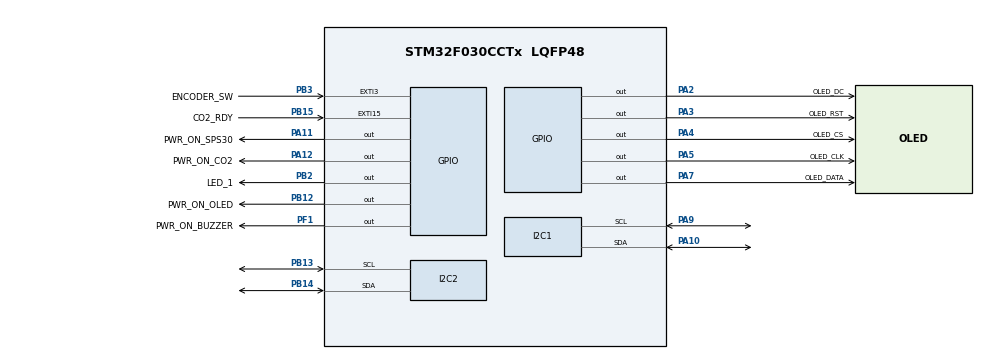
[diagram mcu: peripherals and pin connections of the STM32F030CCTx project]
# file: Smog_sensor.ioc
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Mcu.Family=STM32F0
Mcu.Name=STM32F030CCTx
Mcu.Package=LQFP48
NVIC.EXTI2_3_IRQn=true\:0\:0\:false\:false\:true\:true\:true
NVIC.EXTI4_15_IRQn=true\:0\:0\:false\:false\:true\:true\:true
NVIC.TIM7_IRQn=true\:0\:0\:false\:false\:true\:true\:true
PA10.Mode=I2C
PA10.Signal=I2C1_SDA
PA11.GPIO_Label=PWR_ON_SPS30
PA11.Signal=GPIO_Output
PA12.GPIO_Label=PWR_ON_CO2
PA12.PinState=GPIO_PIN_SET
PA12.Signal=GPIO_Output
PA13.Mode=Serial_Wire
PA13.Signal=SYS_SWDIO
PA14.Mode=Serial_Wire
PA14.Signal=SYS_SWCLK
PA2.GPIO_Label=OLED_DC
PA2.GPIO_Speed=GPIO_SPEED_FREQ_HIGH
PA2.PinState=GPIO_PIN_SET
PA2.Signal=GPIO_Output
PA3.GPIO_Label=OLED_RST
PA3.GPIO_Speed=GPIO_SPEED_FREQ_HIGH
PA3.PinState=GPIO_PIN_SET
PA3.Signal=GPIO_Output
PA4.GPIO_Label=OLED_CS
PA4.GPIO_Speed=GPIO_SPEED_FREQ_HIGH
PA4.PinState=GPIO_PIN_SET
PA4.Signal=GPIO_Output
PA5.GPIO_Label=OLED_CLK
PA5.GPIO_Speed=GPIO_SPEED_FREQ_HIGH
PA5.PinState=GPIO_PIN_SET
PA5.Signal=GPIO_Output
PA7.GPIO_Label=OLED_DATA
PA7.GPIO_Speed=GPIO_SPEED_FREQ_HIGH
PA7.PinState=GPIO_PIN_SET
PA7.Signal=GPIO_Output
PA9.Mode=I2C
PA9.Signal=I2C1_SCL
PB12.GPIO_Label=PWR_ON_OLED
PB12.Signal=GPIO_Output
PB13.Mode=I2C
PB13.Signal=I2C2_SCL
PB14.Mode=I2C
PB14.Signal=I2C2_SDA
PB15.GPIO_Label=CO2_RDY
PB15.GPIO_ModeDefaultEXTI=GPIO_MODE_IT_RISING
PB15.Signal=GPXTI15
PB2.GPIO_Label=LED_1
PB2.PinState=GPIO_PIN_SET
PB2.Signal=GPIO_Output
PB3.GPIO_Label=ENCODER_SW
PB3.GPIO_ModeDefaultEXTI=GPIO_MODE_IT_FALLING
PB3.Signal=GPXTI3
PF1-OSC_OUT.GPIO_Label=PWR_ON_BUZZER
PF1-OSC_OUT.Signal=GPIO_Output
ProjectManager.HeapSize=0x200
ProjectManager.StackSize=0x400
ProjectManager.TargetToolchain=STM32CubeIDE
TIM7.Period=50
TIM7.Prescaler=7999
VP_TIM7_VS_ClockSourceINT.Mode=Enable_Timer
board=custom

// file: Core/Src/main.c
/* USER CODE BEGIN Header */
/**
  ******************************************************************************
  * @file           : main.c
  * @brief          : Main program body
  ******************************************************************************
  * @attention
  *
  * <h2><center>&copy; Copyright (c) 2021 STMicroelectronics.
  * All rights reserved.</center></h2>
  *
  * This software component is licensed by ST under BSD 3-Clause license,
  * the "License"; You may not use this file except in compliance with the
  * License. You may obtain a copy of the License at:
  *                        opensource.org/licenses/BSD-3-Clause
  *
  ******************************************************************************
  */
/* USER CODE END Header */
#include "main.h"
#include "i2c.h"
#include "tim.h"
#include "gpio.h"

/* USER CODE BEGIN Includes */

#include "rc_ssd1309.h"
#include "rc_graphic.h"
#include "menu.h"
#include <stdio.h>
#include <stdbool.h>

/* USER CODE END Includes */

/* USER CODE BEGIN PV */

volatile uint8_t btn_state = 0;	   //store current button state
volatile uint8_t CO2_irq_event;    //CO2 sensor irq
volatile bool btn_flag = true;     //for debouncing purpose

void prepare_CO2_sensor(void);
void prepare_PM_sensor(void);
void prepare_INA_sensor(void);

extern uint8_t StateMachine(uint8_t state, uint8_t stimuli);

/* USER CODE END PV */

void SystemClock_Config(void);

int main(void)
{
  /* USER CODE BEGIN 1 */

  uint8_t nextstate;
  uint8_t state;
  uint8_t (*pStateFunc)(uint8_t);

   // Initial state variables
  state = nextstate = ST_MAIN_SCREEN;
  pStateFunc = DrawMainScreen;

  /* USER CODE END 1 */

  /* MCU Configuration--------------------------------------------------------*/

  /* Reset of all peripherals, Initializes the Flash interface and the Systick. */
  HAL_Init();

  /* Configure the system clock */
  SystemClock_Config();

  /* Initialize all configured peripherals */
  MX_GPIO_Init();
  MX_I2C1_Init();
  MX_I2C2_Init();
  MX_TIM7_Init();
  /* USER CODE BEGIN 2 */

  prepare_CO2_sensor();
  prepare_PM_sensor();
  prepare_INA_sensor();

  rc_ssd1306_init();
  rc_ssd1309_display_clear();
  rc_ssd1309_display();

  /* USER CODE END 2 */

  /* Infinite loop */
  while (1)
  {

    /* USER CODE BEGIN 3 */

	  if (pStateFunc)
      {
          nextstate = (*pStateFunc) (btn_state);  //Call state function
      }

      if (btn_state != KEY_NULL)   //when user press any button
      {
          nextstate = StateMachine(state, btn_state);   //state machine is checking what is the next state
      }

      if (nextstate != state)
      {
          state = nextstate;
          for (uint8_t i=0; menu_state[i].state; i++)   // scan state structure
          {
              if (menu_state[i].state == state)
              {
                  pStateFunc = menu_state[i].pFunc;
                  break;
              }
          }
      }
  }
  /* USER CODE END 3 */
}

void SystemClock_Config(void)
{
  RCC_OscInitTypeDef RCC_OscInitStruct = {0};
  RCC_ClkInitTypeDef RCC_ClkInitStruct = {0};
  RCC_PeriphCLKInitTypeDef PeriphClkInit = {0};

  /** Initializes the RCC Oscillators according to the specified parameters
  * in the RCC_OscInitTypeDef structure.
  */
  RCC_OscInitStruct.OscillatorType = RCC_OSCILLATORTYPE_HSI;
  RCC_OscInitStruct.HSIState = RCC_HSI_ON;
  RCC_OscInitStruct.HSICalibrationValue = RCC_HSICALIBRATION_DEFAULT;
  RCC_OscInitStruct.PLL.PLLState = RCC_PLL_NONE;
  if (HAL_RCC_OscConfig(&RCC_OscInitStruct) != HAL_OK)
  {
    Error_Handler();
  }
  /** Initializes the CPU, AHB and APB buses clocks
  */
  RCC_ClkInitStruct.ClockType = RCC_CLOCKTYPE_HCLK|RCC_CLOCKTYPE_SYSCLK
                              |RCC_CLOCKTYPE_PCLK1;
  RCC_ClkInitStruct.SYSCLKSource = RCC_SYSCLKSOURCE_HSI;
  RCC_ClkInitStruct.AHBCLKDivider = RCC_SYSCLK_DIV1;
  RCC_ClkInitStruct.APB1CLKDivider = RCC_HCLK_DIV1;

  if (HAL_RCC_ClockConfig(&RCC_ClkInitStruct, FLASH_LATENCY_0) != HAL_OK)
  {
    Error_Handler();
  }
  PeriphClkInit.PeriphClockSelection = RCC_PERIPHCLK_I2C1;
  PeriphClkInit.I2c1ClockSelection = RCC_I2C1CLKSOURCE_HSI;
  if (HAL_RCCEx_PeriphCLKConfig(&PeriphClkInit) != HAL_OK)
  {
    Error_Handler();
  }
}

/* USER CODE BEGIN 4 */

void HAL_GPIO_EXTI_Callback(uint16_t GPIO_Pin)
{
	if(GPIO_Pin == ENCODER_SW_Pin && btn_flag == true){
		HAL_TIM_Base_Start_IT(&htim7);   // button debouncing timer
		btn_flag = false;
	}

	if (GPIO_Pin == CO2_RDY_Pin)   //Check if callback is from CO2 sensor
	{
		HAL_GPIO_WritePin(LED_1_GPIO_Port,LED_1_Pin,GPIO_PIN_SET);  //turn on RED led
		CO2_irq_event++; //set flag
	}
}

void HAL_TIM_PeriodElapsedCallback(TIM_HandleTypeDef *htim)
{
	if(HAL_GPIO_ReadPin(ENCODER_SW_GPIO_Port,ENCODER_SW_Pin)==GPIO_PIN_RESET)  //check encoder sw pin again after some time
	{
		btn_state = ENC_SW_ON;
		btn_flag = true;
		HAL_TIM_Base_Stop_IT(&htim7);
	}
}

void prepare_CO2_sensor(void)
{
	HAL_GPIO_WritePin(PWR_ON_CO2_GPIO_Port,PWR_ON_CO2_Pin,GPIO_PIN_RESET); // switch on power supply for CO2 sensor
}

/* USER CODE END 4 */

void Error_Handler(void)
{
  __disable_irq();
  while (1)
  {
  }
}

/************************ (C) COPYRIGHT STMicroelectronics *****END OF FILE****/
